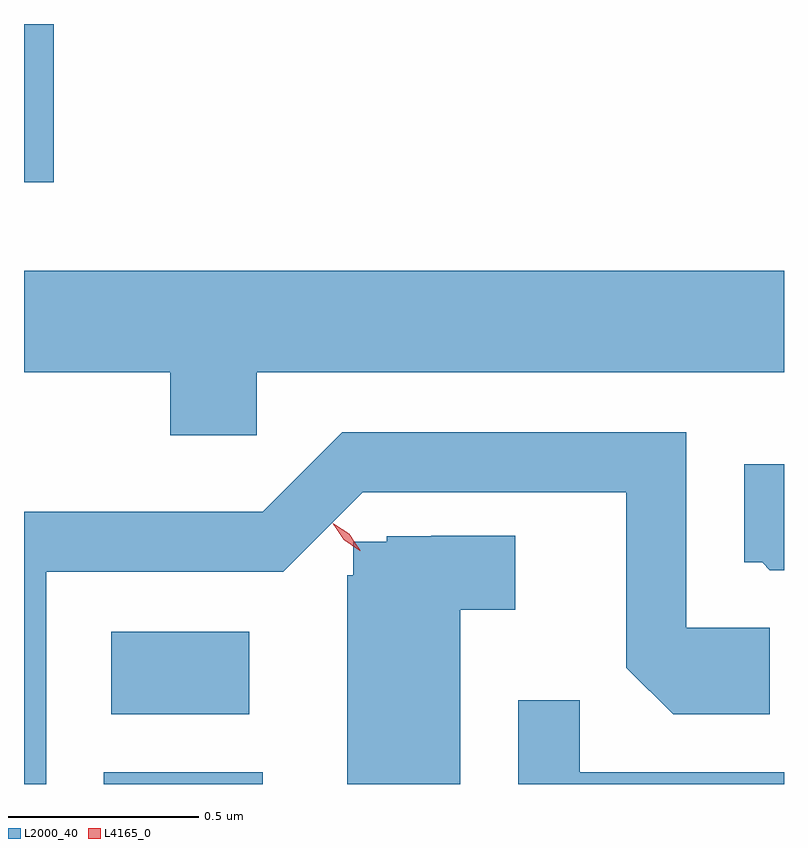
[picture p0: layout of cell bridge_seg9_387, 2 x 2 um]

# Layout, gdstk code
import gdstk
lib = gdstk.Library(unit=1e-6, precision=1e-09)
def R(c, l, rs):  # rectangles x0, y0, x1, y1
    for r in rs: c.add(gdstk.rectangle(r[:2], r[2:], *l))
def P(c, l, *ps):  # polygons
    for p in ps: c.add(gdstk.Polygon(p, *l))
L2000_40 = (2000, 40)
L4165_0 = (4165, 0)

bridge_seg9_387 = lib.new_cell('bridge_seg9_387')
R(bridge_seg9_387, L2000_40, [(1066.636,1959.653,1067.054,1959.684), (1066.656,1959.836,1067.019,1960.054), (1066.426,1961.236,1066.504,1961.653)])
P(bridge_seg9_387, L2000_40, [(1067.039,1960.736),(1068.426,1960.736),(1068.426,1961.004),(1066.426,1961.004),(1066.426,1960.736),(1066.811,1960.736),(1066.811,1960.571),(1067.039,1960.571)],
  [(1066.484,1960.211),(1067.108,1960.211),(1067.318,1960.421),(1068.011,1960.421),(1068.011,1959.959),(1068.134,1959.836),(1068.389,1959.836),(1068.389,1960.064),(1068.169,1960.064),(1068.169,1960.579),(1067.264,1960.579),(1067.054,1960.369),(1066.426,1960.369),(1066.426,1959.653),(1066.484,1959.653)],
  [(1068.426,1960.494),(1068.321,1960.494),(1068.321,1960.236),(1068.369,1960.236),(1068.389,1960.216),(1068.426,1960.216)],
  [(1067.574,1960.111),(1067.719,1960.111),(1067.719,1960.306),(1067.498,1960.306),(1067.498,1960.305),(1067.38,1960.305),(1067.38,1960.29),(1067.293,1960.29),(1067.293,1960.202),(1067.277,1960.202),(1067.277,1960.102),(1067.276,1960.102),(1067.276,1959.653),(1067.574,1959.653)],
  [(1068.426,1959.684),(1067.889,1959.684),(1067.889,1959.873),(1067.726,1959.873),(1067.726,1959.653),(1068.426,1959.653)])
P(bridge_seg9_387, L4165_0, [(1067.308,1960.27),(1067.267,1960.297),(1067.24,1960.337),(1067.24,1960.338),(1067.241,1960.338),(1067.282,1960.311),(1067.308,1960.271),(1067.308,1960.27)],
  [(1067.31,1960.267),(1067.267,1960.296),(1067.238,1960.339),(1067.238,1960.339),(1067.239,1960.339),(1067.282,1960.31),(1067.311,1960.268),(1067.311,1960.267)])

lib.write_gds('bridge_seg9_387.gds')
